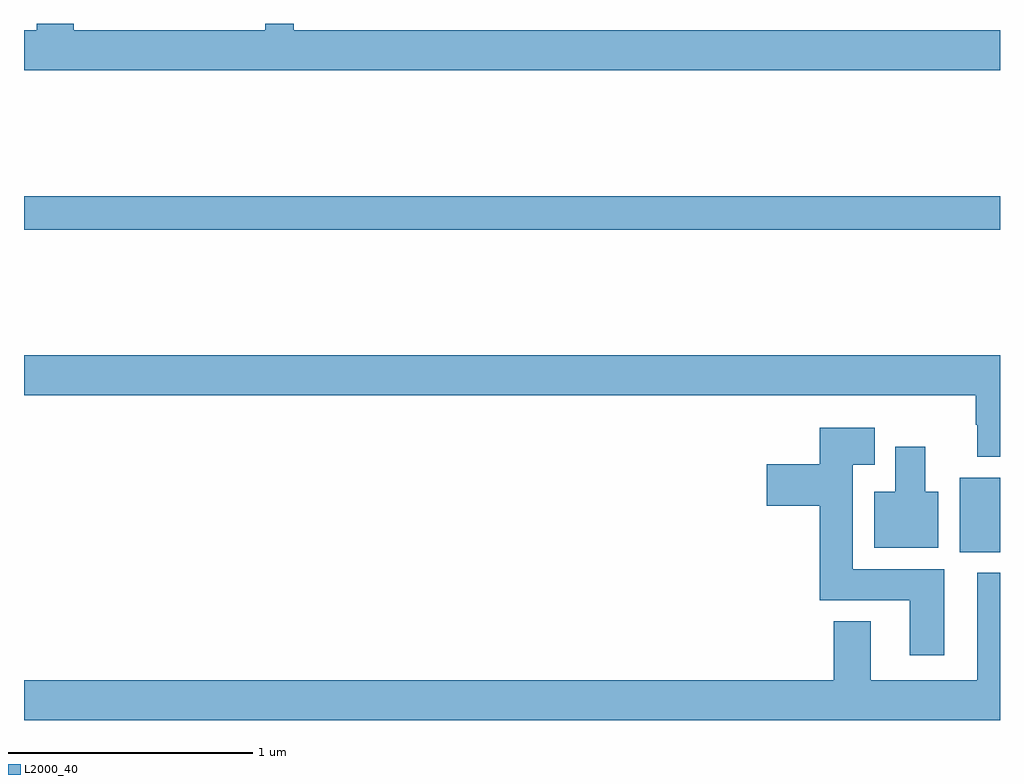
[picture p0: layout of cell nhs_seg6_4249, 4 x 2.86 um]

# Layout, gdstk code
import gdstk
lib = gdstk.Library(unit=1e-6, precision=1e-09)
def R(c, l, rs):  # rectangles x0, y0, x1, y1
    for r in rs: c.add(gdstk.rectangle(r[:2], r[2:], *l))
def P(c, l, *ps):  # polygons
    for p in ps: c.add(gdstk.Polygon(p, *l))
L2000_40 = (2000, 40)

nhs_seg6_4249 = lib.new_cell('nhs_seg6_4249')
R(nhs_seg6_4249, L2000_40, [(364.835,973.334,365,973.639), (361,974.656,365,974.792)])
P(nhs_seg6_4249, L2000_40, [(365,975.472),(362.105,975.472),(362.105,975.5),(361.989,975.5),(361.989,975.472),(361.204,975.472),(361.204,975.5),(361.052,975.5),(361.052,975.472),(361,975.472),(361,975.308),(365,975.308)],
  [(365,974.14),(361,974.14),(361,973.976),(364.9,973.976),(364.9,973.856),(364.907,973.856),(364.907,973.724),(365,973.724)],
  [(364.771,973.264),(364.396,973.264),(364.396,973.691),(364.486,973.691),(364.486,973.843),(364.262,973.843),(364.262,973.693),(364.044,973.693),(364.044,973.523),(364.262,973.523),(364.262,973.136),(364.631,973.136),(364.631,972.912),(364.771,972.912)],
  [(364.747,973.582),(364.693,973.582),(364.693,973.765),(364.571,973.765),(364.571,973.582),(364.484,973.582),(364.484,973.352),(364.747,973.352)],
  [(365,973.249),(364.907,973.249),(364.907,972.808),(364.471,972.808),(364.471,973.051),(364.319,973.051),(364.319,972.808),(361,972.808),(361,972.644),(365,972.644)])

lib.write_gds('nhs_seg6_4249.gds')
